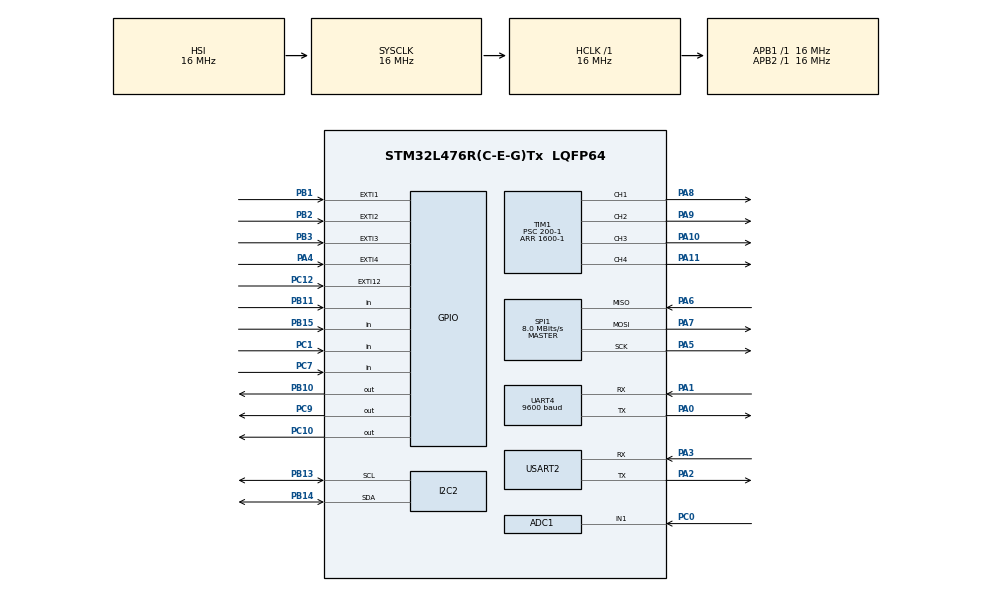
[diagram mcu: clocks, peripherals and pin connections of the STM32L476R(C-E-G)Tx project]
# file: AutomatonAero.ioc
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ADC1.Channel-0\#ChannelRegularConversion=ADC_CHANNEL_1
ADC1.NbrOfConversionFlag=1
ADC1.OffsetNumber-0\#ChannelRegularConversion=ADC_OFFSET_NONE
ADC1.Rank-0\#ChannelRegularConversion=1
ADC1.SamplingTime-0\#ChannelRegularConversion=ADC_SAMPLETIME_2CYCLES_5
ADC1.master=1
FREERTOS.Tasks01=flightTask,32,512,StartflightTask,Default,NULL,Dynamic,NULL,NULL;telemetryTask,24,256,StarttelemetryTask,Default,NULL,Dynamic,NULL,NULL;sensorsTask,16,512,StartsensorsTask,Default,NULL,Dynamic,NULL,NULL
FREERTOS.configTOTAL_HEAP_SIZE=8192
I2C2.Timing=0x00503D58
Mcu.Family=STM32L4
Mcu.Name=STM32L476R(C-E-G)Tx
Mcu.Package=LQFP64
NVIC.PriorityGroup=NVIC_PRIORITYGROUP_4
NVIC.TIM3_IRQn=true\:15\:0\:false\:false\:true\:false\:false\:true\:true
NVIC.TimeBase=TIM3_IRQn
NVIC.TimeBaseIP=TIM3
PA0.Mode=Asynchronous
PA0.Signal=UART4_TX
PA1.GPIO_PuPd=GPIO_PULLUP
PA1.Mode=Asynchronous
PA1.Signal=UART4_RX
PA10.Signal=S_TIM1_CH3
PA11.Signal=S_TIM1_CH4
PA13\ (JTMS-SWDIO).Mode=Serial_Wire
PA13\ (JTMS-SWDIO).Signal=SYS_JTMS-SWDIO
PA14\ (JTCK-SWCLK).Mode=Serial_Wire
PA14\ (JTCK-SWCLK).Signal=SYS_JTCK-SWCLK
PA2.Mode=Asynchronous
PA2.Signal=USART2_TX
PA3.Mode=Asynchronous
PA3.Signal=USART2_RX
PA4.Signal=GPXTI4
PA5.GPIO_PuPd=GPIO_PULLUP
PA5.Mode=Full_Duplex_Master
PA5.Signal=SPI1_SCK
PA6.GPIO_PuPd=GPIO_PULLUP
PA6.Mode=Full_Duplex_Master
PA6.Signal=SPI1_MISO
PA7.GPIO_PuPd=GPIO_PULLUP
PA7.Mode=Full_Duplex_Master
PA7.Signal=SPI1_MOSI
PA8.Signal=S_TIM1_CH1
PA9.Signal=S_TIM1_CH2
PB1.GPIO_ModeDefaultEXTI=GPIO_MODE_IT_RISING_FALLING
PB1.Signal=GPXTI1
PB10.Signal=GPIO_Output
PB11.Signal=GPIO_Input
PB13.GPIO_Mode=GPIO_MODE_AF_OD
PB13.GPIO_Pu=GPIO_NOPULL
PB13.GPIO_Speed=GPIO_SPEED_FREQ_VERY_HIGH
PB13.Mode=I2C
PB13.Signal=I2C2_SCL
PB14.GPIO_Mode=GPIO_MODE_AF_OD
PB14.GPIO_Pu=GPIO_NOPULL
PB14.GPIO_Speed=GPIO_SPEED_FREQ_VERY_HIGH
PB14.Mode=I2C
PB14.Signal=I2C2_SDA
PB15.Signal=GPIO_Input
PB2.GPIO_ModeDefaultEXTI=GPIO_MODE_IT_RISING_FALLING
PB2.Signal=GPXTI2
PB3\ (JTDO-TRACESWO).GPIO_ModeDefaultEXTI=GPIO_MODE_IT_RISING_FALLING
PB3\ (JTDO-TRACESWO).Signal=GPXTI3
PC0.Signal=ADCx_IN1
PC1.Signal=GPIO_Input
PC10.Signal=GPIO_Output
PC12.GPIO_ModeDefaultEXTI=GPIO_MODE_IT_RISING_FALLING
PC12.Signal=GPXTI12
PC7.Signal=GPIO_Input
PC9.Signal=GPIO_Output
PH0-OSC_IN\ (PH0).Mode=HSE-External-Oscillator
PH0-OSC_IN\ (PH0).Signal=RCC_OSC_IN
PH1-OSC_OUT\ (PH1).Mode=HSE-External-Oscillator
PH1-OSC_OUT\ (PH1).Signal=RCC_OSC_OUT
ProjectManager.HeapSize=0x200
ProjectManager.StackSize=0x400
ProjectManager.TargetToolchain=CMake
RCC.ADCFreq_Value=32000000
RCC.AHBFreq_Value=16000000
RCC.APB1Freq_Value=16000000
RCC.APB1TimFreq_Value=16000000
RCC.APB2Freq_Value=16000000
RCC.APB2TimFreq_Value=16000000
RCC.CortexFreq_Value=16000000
RCC.HCLKFreq_Value=16000000
RCC.HSE_VALUE=8000000
RCC.HSI_VALUE=16000000
RCC.LSE_VALUE=32768
RCC.MSI_VALUE=4000000
RCC.PLLSAI1N=16
RCC.SYSCLKFreq_VALUE=16000000
RCC.SYSCLKSource=RCC_SYSCLKSOURCE_HSI
RCC.USBFreq_Value=32000000
RCC.VCOOutputFreq_Value=32000000
SH.ADCx_IN1.0=ADC1_IN1,IN1-Single-Ended
SH.S_TIM1_CH1.0=TIM1_CH1,PWM Generation1 CH1
SH.S_TIM1_CH2.0=TIM1_CH2,PWM Generation2 CH2
SH.S_TIM1_CH3.0=TIM1_CH3,PWM Generation3 CH3
SH.S_TIM1_CH4.0=TIM1_CH4,PWM Generation4 CH4
SPI1.CalculateBaudRate=8.0 MBits/s
SPI1.DataSize=SPI_DATASIZE_8BIT
SPI1.Direction=SPI_DIRECTION_2LINES
SPI1.Mode=SPI_MODE_MASTER
SPI1.VirtualType=VM_MASTER
TIM1.Channel-PWM\ Generation1\ CH1=TIM_CHANNEL_1
TIM1.Channel-PWM\ Generation2\ CH2=TIM_CHANNEL_2
TIM1.Channel-PWM\ Generation3\ CH3=TIM_CHANNEL_3
TIM1.Channel-PWM\ Generation4\ CH4=TIM_CHANNEL_4
TIM1.Period=1600-1
TIM1.Prescaler=200-1
TIM2.Period=1600-1
TIM2.Prescaler=200-1
UART4.BaudRate=9600
USART2.VirtualMode-Asynchronous=VM_ASYNC
VP_FREERTOS_VS_CMSIS_V2.Mode=CMSIS_V2
VP_SYS_VS_tim3.Mode=TIM3
VP_TIM1_VS_ClockSourceINT.Mode=Internal
VP_TIM2_VS_ClockSourceINT.Mode=Internal
board=custom

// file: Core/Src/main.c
/* USER CODE BEGIN Header */
/**
  ******************************************************************************
  * @file           : main.c
  * @brief          : Main program body
  ******************************************************************************
  * @attention
  *
  * Copyright (c) 2026 STMicroelectronics.
  * All rights reserved.
  *
  * This software is licensed under terms that can be found in the LICENSE file
  * in the root directory of this software component.
  * If no LICENSE file comes with this software, it is provided AS-IS.
  *
  ******************************************************************************
  */
/* USER CODE END Header */
#include "main.h"
#include "cmsis_os.h"

/* USER CODE BEGIN Includes */
#include "flight_types.h"
#include "mpu6050.h"
#include "ms5611.h"
#include "gps_nmea.h"
#include "sx1278.h"
#include "kalman.h"
#include "nav_fusion.h"
#include "pid.h"
#include "servo_esc.h"
#include "adc_sensors.h"
#include "telemetry.h"
#include "rc_input.h"
#include "serial_telemetry.h"
#include "flight_config_generated.h"
#include <string.h>
#include <stdio.h>
#include <math.h>
/* USER CODE END Includes */

ADC_HandleTypeDef hadc1;

I2C_HandleTypeDef hi2c2;

SPI_HandleTypeDef hspi1;

TIM_HandleTypeDef htim1;
TIM_HandleTypeDef htim2;

UART_HandleTypeDef huart4;
UART_HandleTypeDef huart2;

/* Definitions for flightTask */
osThreadId_t flightTaskHandle;
const osThreadAttr_t flightTask_attributes = {
  .name = "flightTask",
  .stack_size = 512 * 4,
  .priority = (osPriority_t) osPriorityAboveNormal,
};
/* Definitions for telemetryTask */
osThreadId_t telemetryTaskHandle;
const osThreadAttr_t telemetryTask_attributes = {
  .name = "telemetryTask",
  .stack_size = 256 * 4,
  .priority = (osPriority_t) osPriorityNormal,
};
/* Definitions for sensorsTask */
osThreadId_t sensorsTaskHandle;
const osThreadAttr_t sensorsTask_attributes = {
  .name = "sensorsTask",
  .stack_size = 512 * 4,
  .priority = (osPriority_t) osPriorityBelowNormal,
};
/* USER CODE BEGIN PV */

/* Sensor handles */
MPU6050_Handle_t hmpu;
MS5611_Handle_t hbaro;
GPS_Handle_t hgps;
SX1278_Handle_t hlora;
PowerSensor_Handle_t hpower;
IWDG_HandleTypeDef hiwdg;

/* Control system */
KalmanFilter_t kalman;
NavFusion_t nav_fusion;
FlightPID_t flight_pid;

/* Initial orientation at power-on (for attitude hold baseline) */
static float attitude_zero_roll = 0.0f;
static float attitude_zero_pitch = 0.0f;
static float attitude_zero_yaw = 0.0f;
static volatile uint8_t attitude_zero_requested = 1U;
static bool attitude_zero_valid = false;

/* Actuator handles */
Servo_Handle_t servo_roll;   // TIM1_CH1 - PA8
Servo_Handle_t servo_pitch;  // TIM1_CH2 - PA9
Servo_Handle_t servo_yaw;    // TIM1_CH3 - PA10 front wheel steering
Servo_Handle_t reverse_thrust_output; // TIM1_CH4 - PA11 RC-style command
ESC_Handle_t esc;            // Legacy throttle output unused on this airframe

/* Telemetry */
Telemetry_Handle_t htelemetry;

/* Serial Debug Telemetry */
SerialTelemetry_Handle_t hserial_telem;

/* RC Input */
RC_Handle_t hrc;

/* Flight state */
FlightState_t flight_state;

/* Control parameters */
float throttle_command = 0.0f;  // 0.0 to 1.0
volatile uint8_t system_armed = CONFIG_SYSTEM_ARMED_DEFAULT;

/* Task heartbeats used by the independent hardware watchdog. */
static volatile uint32_t sensors_heartbeat = 0;
static volatile uint32_t telemetry_heartbeat = 0;
static osMutexId_t i2c2MutexHandle;
static volatile float mcu_temperature_c = 0.0f;
static volatile bool mcu_temperature_valid = false;
static volatile bool baro_startup_zero_valid = false;
static volatile bool reverse_thrust_active = false;
static volatile bool reverse_rc_signal_valid = false;

/* USER CODE END PV */

void SystemClock_Config(void);
static void MX_GPIO_Init(void);
static void MX_UART4_Init(void);
static void MX_ADC1_Init(void);
static void MX_SPI1_Init(void);
static void MX_TIM1_Init(void);
static void MX_TIM2_Init(void);
static void MX_I2C2_Init(void);
static void MX_USART2_UART_Init(void);
void StartflightTask(void *argument);
void StarttelemetryTask(void *argument);
void StartsensorsTask(void *argument);

/* USER CODE BEGIN PFP */
static void Flight_InitSensors(void);
static void Flight_InitActuators(void);
static void Flight_InitRadio(void);
static void Flight_InitRCInput(void);
static void Flight_ControlLoop(void);
static void Flight_InitWatchdog(void);
static void Flight_RecoverI2CBus(void);
void Flight_RequestAttitudeZero(void);
/* USER CODE END PFP */

/* USER CODE BEGIN 0 */

void Flight_RequestAttitudeZero(void)
{
  attitude_zero_requested = 1U;
}

static float Flight_WrapAngle(float angle)
{
  while (angle > 3.14159265f) angle -= 6.28318531f;
  while (angle < -3.14159265f) angle += 6.28318531f;
  return angle;
}

/* USER CODE END 0 */

int main(void)
{

  /* MCU Configuration--------------------------------------------------------*/

  /* Reset of all peripherals, Initializes the Flash interface and the Systick. */
  HAL_Init();

  /* Configure the system clock */
  SystemClock_Config();

  /* Initialize all configured peripherals */
  MX_GPIO_Init();
  MX_UART4_Init();
  MX_ADC1_Init();
  MX_SPI1_Init();
  MX_TIM1_Init();
  MX_TIM2_Init();
  MX_I2C2_Init();
  MX_USART2_UART_Init();
  /* USER CODE BEGIN 2 */

  /* Initialize flight state */
  memset(&flight_state, 0, sizeof(FlightState_t));

  /* Initialize Kalman filter and PID controllers */
  Kalman_Init(&kalman);
  Kalman_SetTuning(&kalman, 0.001f, 0.003f, 0.03f);  // Q_angle, Q_bias, R_measure
  NavFusion_Init(&nav_fusion);

  FlightPID_Init(&flight_pid);

  /* Initialize sensors */
  Flight_InitSensors();

  /* Initialize RC receiver input */
  Flight_InitRCInput();

  /* Initialize actuators */
  Flight_InitActuators();

  /* Initialize LoRa radio */
  Flight_InitRadio();

  /* Initialize serial debug telemetry (0.25Hz = print every 4 seconds) */
  SerialTelemetry_Init(&hserial_telem, 0.25f);

  /* Last-resort recovery for a genuinely wedged peripheral/task. */
  sensors_heartbeat = HAL_GetTick();
  telemetry_heartbeat = HAL_GetTick();
  Flight_InitWatchdog();

  /* USER CODE END 2 */

  /* Init scheduler */
  osKernelInitialize();

  /* USER CODE BEGIN RTOS_MUTEX */
  i2c2MutexHandle = osMutexNew(NULL);
  if (i2c2MutexHandle == NULL)
  {
    NVIC_SystemReset();
  }
  /* USER CODE END RTOS_MUTEX */

  /* Create the thread(s) */
  /* creation of flightTask */
  flightTaskHandle = osThreadNew(StartflightTask, NULL, &flightTask_attributes);

  /* creation of telemetryTask */
  telemetryTaskHandle = osThreadNew(StarttelemetryTask, NULL, &telemetryTask_attributes);

  /* creation of sensorsTask */
  sensorsTaskHandle = osThreadNew(StartsensorsTask, NULL, &sensorsTask_attributes);

  /* Start scheduler */
  osKernelStart();

  /* We should never get here as control is now taken by the scheduler */

  /* Infinite loop */
  while (1)
  {

  }
}

void SystemClock_Config(void)
{
  RCC_OscInitTypeDef RCC_OscInitStruct = {0};
  RCC_ClkInitTypeDef RCC_ClkInitStruct = {0};

  /** Configure the main internal regulator output voltage
  */
  if (HAL_PWREx_ControlVoltageScaling(PWR_REGULATOR_VOLTAGE_SCALE1) != HAL_OK)
  {
    Error_Handler();
  }

  /** Initializes the RCC Oscillators according to the specified parameters
  * in the RCC_OscInitTypeDef structure.
  */
  RCC_OscInitStruct.OscillatorType = RCC_OSCILLATORTYPE_HSI|RCC_OSCILLATORTYPE_MSI;
  RCC_OscInitStruct.HSIState = RCC_HSI_ON;
  RCC_OscInitStruct.HSICalibrationValue = RCC_HSICALIBRATION_DEFAULT;
  RCC_OscInitStruct.MSIState = RCC_MSI_ON;
  RCC_OscInitStruct.MSICalibrationValue = 0;
  RCC_OscInitStruct.MSIClockRange = RCC_MSIRANGE_6;
  RCC_OscInitStruct.PLL.PLLState = RCC_PLL_NONE;
  if (HAL_RCC_OscConfig(&RCC_OscInitStruct) != HAL_OK)
  {
    Error_Handler();
  }

  /** Initializes the CPU, AHB and APB buses clocks
  */
  RCC_ClkInitStruct.ClockType = RCC_CLOCKTYPE_HCLK|RCC_CLOCKTYPE_SYSCLK
                              |RCC_CLOCKTYPE_PCLK1|RCC_CLOCKTYPE_PCLK2;
  RCC_ClkInitStruct.SYSCLKSource = RCC_SYSCLKSOURCE_HSI;
  RCC_ClkInitStruct.AHBCLKDivider = RCC_SYSCLK_DIV1;
  RCC_ClkInitStruct.APB1CLKDivider = RCC_HCLK_DIV1;
  RCC_ClkInitStruct.APB2CLKDivider = RCC_HCLK_DIV1;

  if (HAL_RCC_ClockConfig(&RCC_ClkInitStruct, FLASH_LATENCY_0) != HAL_OK)
  {
    Error_Handler();
  }
}

static void MX_ADC1_Init(void)
{

  ADC_MultiModeTypeDef multimode = {0};
  ADC_ChannelConfTypeDef sConfig = {0};

  /** Common config
  */
  hadc1.Instance = ADC1;
  hadc1.Init.ClockPrescaler = ADC_CLOCK_ASYNC_DIV1;
  hadc1.Init.Resolution = ADC_RESOLUTION_12B;
  hadc1.Init.DataAlign = ADC_DATAALIGN_RIGHT;
  hadc1.Init.ScanConvMode = ADC_SCAN_DISABLE;
  hadc1.Init.EOCSelection = ADC_EOC_SINGLE_CONV;
  hadc1.Init.LowPowerAutoWait = DISABLE;
  hadc1.Init.ContinuousConvMode = DISABLE;
  hadc1.Init.NbrOfConversion = 1;
  hadc1.Init.DiscontinuousConvMode = DISABLE;
  hadc1.Init.ExternalTrigConv = ADC_SOFTWARE_START;
  hadc1.Init.ExternalTrigConvEdge = ADC_EXTERNALTRIGCONVEDGE_NONE;
  hadc1.Init.DMAContinuousRequests = DISABLE;
  hadc1.Init.Overrun = ADC_OVR_DATA_PRESERVED;
  hadc1.Init.OversamplingMode = DISABLE;
  if (HAL_ADC_Init(&hadc1) != HAL_OK)
  {
    Error_Handler();
  }

  /** Configure the ADC multi-mode
  */
  multimode.Mode = ADC_MODE_INDEPENDENT;
  if (HAL_ADCEx_MultiModeConfigChannel(&hadc1, &multimode) != HAL_OK)
  {
    Error_Handler();
  }

  /** Configure Regular Channel
  */
  sConfig.Channel = ADC_CHANNEL_1;
  sConfig.Rank = ADC_REGULAR_RANK_1;
  sConfig.SamplingTime = ADC_SAMPLETIME_2CYCLES_5;
  sConfig.SingleDiff = ADC_SINGLE_ENDED;
  sConfig.OffsetNumber = ADC_OFFSET_NONE;
  sConfig.Offset = 0;
  if (HAL_ADC_ConfigChannel(&hadc1, &sConfig) != HAL_OK)
  {
    Error_Handler();
  }

}

static void MX_I2C2_Init(void)
{

  hi2c2.Instance = I2C2;
  hi2c2.Init.Timing = 0x00503D58;
  hi2c2.Init.OwnAddress1 = 0;
  hi2c2.Init.AddressingMode = I2C_ADDRESSINGMODE_7BIT;
  hi2c2.Init.DualAddressMode = I2C_DUALADDRESS_DISABLE;
  hi2c2.Init.OwnAddress2 = 0;
  hi2c2.Init.OwnAddress2Masks = I2C_OA2_NOMASK;
  hi2c2.Init.GeneralCallMode = I2C_GENERALCALL_DISABLE;
  hi2c2.Init.NoStretchMode = I2C_NOSTRETCH_DISABLE;
  if (HAL_I2C_Init(&hi2c2) != HAL_OK)
  {
    Error_Handler();
  }

  /** Configure Analogue filter
  */
  if (HAL_I2CEx_ConfigAnalogFilter(&hi2c2, I2C_ANALOGFILTER_ENABLE) != HAL_OK)
  {
    Error_Handler();
  }

  /** Configure Digital filter
  */
  if (HAL_I2CEx_ConfigDigitalFilter(&hi2c2, 0) != HAL_OK)
  {
    Error_Handler();
  }

}

static void MX_SPI1_Init(void)
{

  /* SPI1 parameter configuration*/
  hspi1.Instance = SPI1;
  hspi1.Init.Mode = SPI_MODE_MASTER;
  hspi1.Init.Direction = SPI_DIRECTION_2LINES;
  hspi1.Init.DataSize = SPI_DATASIZE_8BIT;
  hspi1.Init.CLKPolarity = SPI_POLARITY_LOW;
  hspi1.Init.CLKPhase = SPI_PHASE_1EDGE;
  hspi1.Init.NSS = SPI_NSS_SOFT;
  hspi1.Init.BaudRatePrescaler = SPI_BAUDRATEPRESCALER_2;
  hspi1.Init.FirstBit = SPI_FIRSTBIT_MSB;
  hspi1.Init.TIMode = SPI_TIMODE_DISABLE;
  hspi1.Init.CRCCalculation = SPI_CRCCALCULATION_DISABLE;
  hspi1.Init.CRCPolynomial = 7;
  hspi1.Init.CRCLength = SPI_CRC_LENGTH_DATASIZE;
  hspi1.Init.NSSPMode = SPI_NSS_PULSE_ENABLE;
  if (HAL_SPI_Init(&hspi1) != HAL_OK)
  {
    Error_Handler();
  }

}

static void MX_TIM1_Init(void)
{

  TIM_ClockConfigTypeDef sClockSourceConfig = {0};
  TIM_MasterConfigTypeDef sMasterConfig = {0};
  TIM_OC_InitTypeDef sConfigOC = {0};
  TIM_BreakDeadTimeConfigTypeDef sBreakDeadTimeConfig = {0};

  htim1.Instance = TIM1;
  htim1.Init.Prescaler = 200-1;
  htim1.Init.CounterMode = TIM_COUNTERMODE_UP;
  htim1.Init.Period = 1600-1;
  htim1.Init.ClockDivision = TIM_CLOCKDIVISION_DIV1;
  htim1.Init.RepetitionCounter = 0;
  htim1.Init.AutoReloadPreload = TIM_AUTORELOAD_PRELOAD_DISABLE;
  if (HAL_TIM_Base_Init(&htim1) != HAL_OK)
  {
    Error_Handler();
  }
  sClockSourceConfig.ClockSource = TIM_CLOCKSOURCE_INTERNAL;
  if (HAL_TIM_ConfigClockSource(&htim1, &sClockSourceConfig) != HAL_OK)
  {
    Error_Handler();
  }
  if (HAL_TIM_PWM_Init(&htim1) != HAL_OK)
  {
    Error_Handler();
  }
  sMasterConfig.MasterOutputTrigger = TIM_TRGO_RESET;
  sMasterConfig.MasterOutputTrigger2 = TIM_TRGO2_RESET;
  sMasterConfig.MasterSlaveMode = TIM_MASTERSLAVEMODE_DISABLE;
  if (HAL_TIMEx_MasterConfigSynchronization(&htim1, &sMasterConfig) != HAL_OK)
  {
    Error_Handler();
  }
  sConfigOC.OCMode = TIM_OCMODE_PWM1;
  sConfigOC.Pulse = 0;
  sConfigOC.OCPolarity = TIM_OCPOLARITY_HIGH;
  sConfigOC.OCNPolarity = TIM_OCNPOLARITY_HIGH;
  sConfigOC.OCFastMode = TIM_OCFAST_DISABLE;
  sConfigOC.OCIdleState = TIM_OCIDLESTATE_RESET;
  sConfigOC.OCNIdleState = TIM_OCNIDLESTATE_RESET;
  if (HAL_TIM_PWM_ConfigChannel(&htim1, &sConfigOC, TIM_CHANNEL_1) != HAL_OK)
  {
    Error_Handler();
  }
  if (HAL_TIM_PWM_ConfigChannel(&htim1, &sConfigOC, TIM_CHANNEL_2) != HAL_OK)
  {
    Error_Handler();
  }
  if (HAL_TIM_PWM_ConfigChannel(&htim1, &sConfigOC, TIM_CHANNEL_3) != HAL_OK)
  {
    Error_Handler();
  }
  if (HAL_TIM_PWM_ConfigChannel(&htim1, &sConfigOC, TIM_CHANNEL_4) != HAL_OK)
  {
    Error_Handler();
  }
  sBreakDeadTimeConfig.OffStateRunMode = TIM_OSSR_DISABLE;
  sBreakDeadTimeConfig.OffStateIDLEMode = TIM_OSSI_DISABLE;
  sBreakDeadTimeConfig.LockLevel = TIM_LOCKLEVEL_OFF;
  sBreakDeadTimeConfig.DeadTime = 0;
  sBreakDeadTimeConfig.BreakState = TIM_BREAK_DISABLE;
  sBreakDeadTimeConfig.BreakPolarity = TIM_BREAKPOLARITY_HIGH;
  sBreakDeadTimeConfig.BreakFilter = 0;
  sBreakDeadTimeConfig.Break2State = TIM_BREAK2_DISABLE;
  sBreakDeadTimeConfig.Break2Polarity = TIM_BREAK2POLARITY_HIGH;
  sBreakDeadTimeConfig.Break2Filter = 0;
  sBreakDeadTimeConfig.AutomaticOutput = TIM_AUTOMATICOUTPUT_DISABLE;
  if (HAL_TIMEx_ConfigBreakDeadTime(&htim1, &sBreakDeadTimeConfig) != HAL_OK)
  {
    Error_Handler();
  }
  HAL_TIM_MspPostInit(&htim1);

}

static void MX_TIM2_Init(void)
{

  TIM_ClockConfigTypeDef sClockSourceConfig = {0};
  TIM_MasterConfigTypeDef sMasterConfig = {0};

  htim2.Instance = TIM2;
  htim2.Init.Prescaler = 200-1;
  htim2.Init.CounterMode = TIM_COUNTERMODE_UP;
  htim2.Init.Period = 1600-1;
  htim2.Init.ClockDivision = TIM_CLOCKDIVISION_DIV1;
  htim2.Init.AutoReloadPreload = TIM_AUTORELOAD_PRELOAD_DISABLE;
  if (HAL_TIM_Base_Init(&htim2) != HAL_OK)
  {
    Error_Handler();
  }
  sClockSourceConfig.ClockSource = TIM_CLOCKSOURCE_INTERNAL;
  if (HAL_TIM_ConfigClockSource(&htim2, &sClockSourceConfig) != HAL_OK)
  {
    Error_Handler();
  }
  sMasterConfig.MasterOutputTrigger = TIM_TRGO_RESET;
  sMasterConfig.MasterSlaveMode = TIM_MASTERSLAVEMODE_DISABLE;
  if (HAL_TIMEx_MasterConfigSynchronization(&htim2, &sMasterConfig) != HAL_OK)
  {
    Error_Handler();
  }

}

static void MX_UART4_Init(void)
{

  huart4.Instance = UART4;
  huart4.Init.BaudRate = 9600;
  huart4.Init.WordLength = UART_WORDLENGTH_8B;
  huart4.Init.StopBits = UART_STOPBITS_1;
  huart4.Init.Parity = UART_PARITY_NONE;
  huart4.Init.Mode = UART_MODE_TX_RX;
  huart4.Init.HwFlowCtl = UART_HWCONTROL_NONE;
  huart4.Init.OverSampling = UART_OVERSAMPLING_16;
  huart4.Init.OneBitSampling = UART_ONE_BIT_SAMPLE_DISABLE;
  huart4.AdvancedInit.AdvFeatureInit = UART_ADVFEATURE_NO_INIT;
  if (HAL_UART_Init(&huart4) != HAL_OK)
  {
    Error_Handler();
  }

}

static void MX_USART2_UART_Init(void)
{

  huart2.Instance = USART2;
  huart2.Init.BaudRate = 115200;
  huart2.Init.WordLength = UART_WORDLENGTH_8B;
  huart2.Init.StopBits = UART_STOPBITS_1;
  huart2.Init.Parity = UART_PARITY_NONE;
  huart2.Init.Mode = UART_MODE_TX_RX;
  huart2.Init.HwFlowCtl = UART_HWCONTROL_NONE;
  huart2.Init.OverSampling = UART_OVERSAMPLING_16;
  huart2.Init.OneBitSampling = UART_ONE_BIT_SAMPLE_DISABLE;
  huart2.AdvancedInit.AdvFeatureInit = UART_ADVFEATURE_NO_INIT;
  if (HAL_UART_Init(&huart2) != HAL_OK)
  {
    Error_Handler();
  }

}

static void MX_GPIO_Init(void)
{
  GPIO_InitTypeDef GPIO_InitStruct = {0};

  /* GPIO Ports Clock Enable */
  __HAL_RCC_GPIOH_CLK_ENABLE();
  __HAL_RCC_GPIOC_CLK_ENABLE();
  __HAL_RCC_GPIOA_CLK_ENABLE();
  __HAL_RCC_GPIOB_CLK_ENABLE();

  /*Configure GPIO pin Output Level */
  HAL_GPIO_WritePin(GPIOB, GPIO_PIN_10, GPIO_PIN_RESET);

  /*Configure GPIO pin Output Level */
  HAL_GPIO_WritePin(GPIOC, GPIO_PIN_9|GPIO_PIN_10, GPIO_PIN_RESET);

  /*Configure GPIO pins : PC1 PC7 */
  GPIO_InitStruct.Pin = GPIO_PIN_1|GPIO_PIN_7;
  GPIO_InitStruct.Mode = GPIO_MODE_INPUT;
  GPIO_InitStruct.Pull = GPIO_NOPULL;
  HAL_GPIO_Init(GPIOC, &GPIO_InitStruct);

  /*Configure GPIO pin : PA4 */
  GPIO_InitStruct.Pin = GPIO_PIN_4;
  GPIO_InitStruct.Mode = GPIO_MODE_IT_RISING;
  GPIO_InitStruct.Pull = GPIO_NOPULL;
  HAL_GPIO_Init(GPIOA, &GPIO_InitStruct);

  /*Configure GPIO pins : PB1 PB2 PB3 */
  GPIO_InitStruct.Pin = GPIO_PIN_1|GPIO_PIN_2|GPIO_PIN_3;
  GPIO_InitStruct.Mode = GPIO_MODE_IT_RISING_FALLING;
  GPIO_InitStruct.Pull = GPIO_NOPULL;
  HAL_GPIO_Init(GPIOB, &GPIO_InitStruct);

  /*Configure GPIO pin : PB10 */
  GPIO_InitStruct.Pin = GPIO_PIN_10;
  GPIO_InitStruct.Mode = GPIO_MODE_OUTPUT_PP;
  GPIO_InitStruct.Pull = GPIO_NOPULL;
  GPIO_InitStruct.Speed = GPIO_SPEED_FREQ_LOW;
  HAL_GPIO_Init(GPIOB, &GPIO_InitStruct);

  /*Configure GPIO pins : PB11 PB15 */
  GPIO_InitStruct.Pin = GPIO_PIN_11|GPIO_PIN_15;
  GPIO_InitStruct.Mode = GPIO_MODE_INPUT;
  GPIO_InitStruct.Pull = GPIO_NOPULL;
  HAL_GPIO_Init(GPIOB, &GPIO_InitStruct);

  /*Configure GPIO pins : PC9 PC10 */
  GPIO_InitStruct.Pin = GPIO_PIN_9|GPIO_PIN_10;
  GPIO_InitStruct.Mode = GPIO_MODE_OUTPUT_PP;
  GPIO_InitStruct.Pull = GPIO_NOPULL;
  GPIO_InitStruct.Speed = GPIO_SPEED_FREQ_LOW;
  HAL_GPIO_Init(GPIOC, &GPIO_InitStruct);

  /*Configure GPIO pin : PC12 */
  GPIO_InitStruct.Pin = GPIO_PIN_12;
  GPIO_InitStruct.Mode = GPIO_MODE_IT_RISING_FALLING;
  GPIO_InitStruct.Pull = GPIO_NOPULL;
  HAL_GPIO_Init(GPIOC, &GPIO_InitStruct);

}

/* USER CODE BEGIN 4 */

/**
 * @brief Initialize all sensors
 */
static void Flight_InitSensors(void)
{
    /* Configure PA4 as input for GPS PPS */
    GPIO_InitTypeDef GPIO_InitStruct = {0};
    __HAL_RCC_GPIOA_CLK_ENABLE();

    GPIO_InitStruct.Pin = GPS_PPS_PIN;
    GPIO_InitStruct.Mode = GPIO_MODE_IT_RISING;  // Interrupt on rising edge
    GPIO_InitStruct.Pull = GPIO_PULLDOWN;
    HAL_GPIO_Init(GPS_PPS_PORT, &GPIO_InitStruct);

    /* Enable EXTI interrupt for PPS */
    HAL_NVIC_SetPriority(EXTI4_IRQn, 5, 0);
    HAL_NVIC_EnableIRQ(EXTI4_IRQn);

    /* DEBUG: I2C peripheral state check */
    printf("\r\n--- I2C2 Debug ---\r\n");
    printf("I2C2 State: %d (1=READY)\r\n", hi2c2.State);
    printf("I2C2 Error: 0x%08lX\r\n", hi2c2.ErrorCode);

    /* Check GPIO states - should be HIGH when idle */
    uint8_t scl_state = HAL_GPIO_ReadPin(GPIOB, GPIO_PIN_13);
    uint8_t sda_state = HAL_GPIO_ReadPin(GPIOB, GPIO_PIN_14);
    printf("PB13(SCL)=%d PB14(SDA)=%d (both should be 1)\r\n", scl_state, sda_state);

    /* I2C bus scan */
    printf("--- I2C2 Bus Scan ---\r\n");
    for (uint8_t addr = 0x08; addr < 0x78; addr++) {
        HAL_StatusTypeDef res = HAL_I2C_IsDeviceReady(&hi2c2, addr << 1, 1, 10);
        if (res == HAL_OK) {
            printf("Device found at 0x%02X\r\n", addr);
        }
    }
    printf("I2C2 Error after scan: 0x%08lX\r\n", hi2c2.ErrorCode);
    printf("--- Scan Complete ---\r\n");

    /* Initialize MPU-6050 IMU on I2C2 */
    HAL_StatusTypeDef imu_status = MPU6050_Init(&hmpu, &hi2c2);
    printf("MPU6050 Init: %s (addr=0x%02X)\r\n",
           imu_status == HAL_OK ? "OK" : "FAILED", hmpu.address >> 1);
    if (imu_status == HAL_OK) {
        /* Calibrate gyroscope (keep device still!) */
        MPU6050_Calibrate(&hmpu, 200);
    }

    /* Initialize MS5611 Barometer on I2C2 */
    HAL_StatusTypeDef baro_status = MS5611_Init(&hbaro, &hi2c2);
    printf("MS5611 Init: %s (addr=0x%02X)\r\n",
           baro_status == HAL_OK ? "OK" : "FAILED", hbaro.address >> 1);
    if (baro_status == HAL_OK) {
        printf("PROM: C1=%u C2=%u C3=%u C4=%u C5=%u C6=%u\r\n",
               hbaro.prom[1], hbaro.prom[2], hbaro.prom[3],
               hbaro.prom[4], hbaro.prom[5], hbaro.prom[6]);
        /* Test read */
        Baro_Data_t test_baro;
        if (MS5611_ReadBlocking(&hbaro, &test_baro) == HAL_OK) {
            printf("D1=%lu D2=%lu\r\n", hbaro.D1, hbaro.D2);
            printf("Baro: %.1f Pa, %.2f C\r\n", test_baro.pressure, test_baro.temperature);
        }
    }

    /* Initialize GPS on UART4 with PPS on PA4 */
    HAL_StatusTypeDef gps_status = GPS_InitWithPPS(&hgps, &huart4, GPS_PPS_PORT, GPS_PPS_PIN);
    printf("GPS init: %s\r\n", gps_status == HAL_OK ? "OK" : "FAILED");
    printf("UART4 State: %d, Error: 0x%08lX\r\n", huart4.gState, huart4.ErrorCode);

    /* DEBUG: GPS test - wait for data and show sentences */
    printf("Waiting for GPS sentences...\r\n");
    uint32_t gps_start = HAL_GetTick();
    while (HAL_GetTick() - gps_start < 5000) {
        uint16_t bytes = (hgps.rx_head - hgps.rx_tail + GPS_RX_BUFFER_SIZE) % GPS_RX_BUFFER_SIZE;
        if (bytes >= 50) {  // Wait for ~1 sentence
            printf("GPS bytes: %d\r\n", bytes);
            printf("Data: ");
            for (int i = 0; i < 80 && i < bytes; i++) {
                char c = hgps.rx_buffer[(hgps.rx_tail + i) % GPS_RX_BUFFER_SIZE];
                if (c >= 32 && c <= 126) printf("%c", c);
                else if (c == '\r' || c == '\n') printf("|");
                else printf(".");
            }
            printf("\r\n");
            printf("Fix: %s, Sats: %d\r\n",
                   hgps.data.fix_valid ? "YES" : "NO", hgps.data.satellites);
            break;
        }
        HAL_Delay(50);
    }
    if ((hgps.rx_head - hgps.rx_tail + GPS_RX_BUFFER_SIZE) % GPS_RX_BUFFER_SIZE < 50) {
        printf("GPS: Insufficient data received\r\n");
    }

    /* Initialize power sensor on ADC1 */
    PowerSensor_Init(&hpower, &hadc1);
    /* Aircraft must be unpowered/no-current during this brief startup sample. */
    PowerSensor_CalibrateZeroCurrent(&hpower);
}

/**
 * @brief Initialize servos and ESC
 */
static void Flight_InitActuators(void)
{
    /* Initialize servos on TIM1 */
    Servo_Init(&servo_roll, &htim1, TIM_CHANNEL_1);   // PA8
    Servo_Init(&servo_pitch, &htim1, TIM_CHANNEL_2);  // PA9
    Servo_Init(&servo_yaw, &htim1, TIM_CHANNEL_3);    // PA10 front wheel
    Servo_Init(&reverse_thrust_output, &htim1, TIM_CHANNEL_4); // PA11
    Servo_SetTravelDegrees(&servo_roll, CONFIG_ROLL_SERVO_TRAVEL_DEGREES);
    Servo_SetTravelDegrees(&servo_pitch, CONFIG_PITCH_SERVO_TRAVEL_DEGREES);
    Servo_SetTravelDegrees(&servo_yaw, CONFIG_FRONT_WHEEL_TRAVEL_DEGREES);

    /* Center the flight-control servos and apply front wheel trim. */
    Servo_SetAngle(&servo_roll, 0.0f);
    Servo_SetAngle(&servo_pitch, 0.0f);
    Servo_SetAngle(&servo_yaw, CONFIG_FRONT_WHEEL_NOMINAL_DEGREES);
    /* Reverse thrust is fail-safe inactive until every activation condition
       has been observed by the control loop. */
    Servo_SetPulse(&reverse_thrust_output,
                   CONFIG_REVERSE_INACTIVE_PULSE_US);
}

/**
 * @brief Initialize LoRa radio
 */
static void Flight_InitRadio(void)
{
    /* Configure GPIO for LoRa control pins */
    GPIO_InitTypeDef GPIO_InitStruct = {0};

    __HAL_RCC_GPIOB_CLK_ENABLE();
    __HAL_RCC_GPIOC_CLK_ENABLE();

    /* NSS pin (PC7) - Output */
    GPIO_InitStruct.Pin = LORA_NSS_PIN;
    GPIO_InitStruct.Mode = GPIO_MODE_OUTPUT_PP;
    GPIO_InitStruct.Pull = GPIO_NOPULL;
    GPIO_InitStruct.Speed = GPIO_SPEED_FREQ_HIGH;
    HAL_GPIO_Init(LORA_NSS_PORT, &GPIO_InitStruct);
    HAL_GPIO_WritePin(LORA_NSS_PORT, LORA_NSS_PIN, GPIO_PIN_SET);

    /* RST pin (PB10) - Output */
    GPIO_InitStruct.Pin = LORA_RST_PIN;
    HAL_GPIO_Init(LORA_RST_PORT, &GPIO_InitStruct);
    HAL_GPIO_WritePin(LORA_RST_PORT, LORA_RST_PIN, GPIO_PIN_SET);

    /* DIO0 is driven by the SX1278 (RxDone/TxDone), never by the STM32. */
    GPIO_InitStruct.Pin = LORA_DIO0_PIN;
    GPIO_InitStruct.Mode = GPIO_MODE_INPUT;
    GPIO_InitStruct.Pull = GPIO_NOPULL;
    HAL_GPIO_Init(LORA_DIO0_PORT, &GPIO_InitStruct);

    /* Initialize SX1278 */
    HAL_StatusTypeDef lora_status = SX1278_Init(&hlora, &hspi1,
                    LORA_NSS_PORT, LORA_NSS_PIN,
                    LORA_RST_PORT, LORA_RST_PIN,
                    LORA_DIO0_PORT, LORA_DIO0_PIN);
    printf("LoRa SX1278 Init: %s\r\n", lora_status == HAL_OK ? "OK" : "FAILED");

    if (lora_status == HAL_OK) {
        /* Read chip version to verify communication */
        uint8_t version = SX1278_ReadRegister(&hlora, 0x42);  // RegVersion
        printf("LoRa chip version: 0x%02X (expected 0x12)\r\n", version);

        /* Configure LoRa parameters */
        SX1278_Config_t lora_config = {
            .frequency = 433000000,           // 433 MHz
            .bandwidth = SX1278_BW_125_KHZ,   // 125 kHz bandwidth
            .spreading_factor = SX1278_SF_7,  // SF7 for faster data rate
            .coding_rate = SX1278_CR_4_5,     // 4/5 coding rate
            .tx_power = 17,                   // 17 dBm
            .preamble_length = 8,
            .sync_word = 0x12                 // Private network
        };

        SX1278_Configure(&hlora, &lora_config);
        printf("LoRa configured: 433MHz, SF7, BW125kHz\r\n");
    }

    /* Initialize telemetry */
    Telemetry_Init(&htelemetry, &hlora);
    uint8_t fifo_byte0 = 0U;
    uint8_t fifo_byte1 = 0U;
    bool fifo_ok = SX1278_FIFO_SelfTest(&hlora, &fifo_byte0, &fifo_byte1);
    printf("LoRa FIFO self-test: %s (read %02X %02X, expected A5 5A)\r\n",
           fifo_ok ? "PASS" : "FAIL", fifo_byte0, fifo_byte1);
    /* Before the first command these two existing diagnostic telemetry bytes
       report the loopback result: A5/5A means the complete test passed. */
    htelemetry.config_rx_count = fifo_ok ? 0xA5U : fifo_byte0;
    htelemetry.last_config_status = fifo_ok ? 0x5AU : fifo_byte1;
    Telemetry_SetRate(&htelemetry, 10);  // 10 Hz telemetry
}

/**
 * @brief Initialize RC receiver input
 */
static void Flight_InitRCInput(void)
{
    RC_Init(&hrc);
}

/**
 * @brief Start an approximately four-second independent watchdog.
 * It is refreshed only while both connection-owning tasks are alive.
 */
static void Flight_InitWatchdog(void)
{
    hiwdg.Instance = IWDG;
    hiwdg.Init.Prescaler = IWDG_PRESCALER_64;
    hiwdg.Init.Reload = 2000;
    hiwdg.Init.Window = IWDG_WINDOW_DISABLE;
    if (HAL_IWDG_Init(&hiwdg) != HAL_OK) {
        NVIC_SystemReset();
    }
}

/**
 * @brief Reset the I2C peripheral after repeated whole-bus failures.
 * Sensor drivers retain their addresses/calibration and resume on the next poll.
 */
static void Flight_RecoverI2CBus(void)
{
    HAL_I2C_DeInit(&hi2c2);
    HAL_Delay(2);
    MX_I2C2_Init();
}

/**
 * @brief Main flight control loop - called from RTOS task
 */
static void Flight_ControlLoop(void)
{
    static uint32_t last_loop_time = 0;
    static uint8_t imu_failures = 0;

    uint32_t now = HAL_GetTick();
    float dt = (now - last_loop_time) / 1000.0f;

    if (dt < 0.001f) dt = 0.01f;  // Prevent division issues
    last_loop_time = now;

    /* ========== READ RC INPUT ========== */
    RC_Update(&hrc);
    RC_Input_t rc_input;
    RC_GetInput(&hrc, &rc_input);

    /* ========== IMU + ATTITUDE (same 100 Hz task as PID/servos) ========== */
    HAL_StatusTypeDef imu_status = HAL_BUSY;
    if (osMutexAcquire(i2c2MutexHandle, 2U) == osOK) {
        imu_status = MPU6050_ReadAll(&hmpu, &flight_state.imu);
        if (imu_status != HAL_OK) {
            if (++imu_failures >= 5U) {
                Flight_RecoverI2CBus();
                imu_failures = 0;
            }
        } else {
            imu_failures = 0;
        }
        osMutexRelease(i2c2MutexHandle);
    }

    if (imu_status == HAL_OK) {
        flight_state.last_imu_update = now;
        Kalman_Update(&kalman, &flight_state.imu.accel,
                      &flight_state.imu.gyro, dt);
        Orientation_t raw_orientation;
        Kalman_GetOrientation(&kalman, &raw_orientation);
        if ((attitude_zero_requested != 0U || !attitude_zero_valid) &&
            kalman.attitude_initialized && now > 2000U) {
            attitude_zero_roll = raw_orientation.roll;
            attitude_zero_pitch = raw_orientation.pitch;
            attitude_zero_yaw = raw_orientation.yaw;
            attitude_zero_valid = true;
            attitude_zero_requested = 0U;
        }
        flight_state.orientation.roll = Flight_WrapAngle(raw_orientation.roll - attitude_zero_roll);
        flight_state.orientation.pitch = Flight_WrapAngle(raw_orientation.pitch - attitude_zero_pitch);
        flight_state.orientation.yaw = Flight_WrapAngle(raw_orientation.yaw - attitude_zero_yaw);
        /* Navigation needs the gravity-referenced attitude.  The zeroed
           attitude is a pilot/control reference; using it here turns the
           aircraft's resting tilt into false horizontal acceleration. */
        NavFusion_Predict(&nav_fusion, &flight_state.imu.accel,
                          &raw_orientation, dt);
    }

    NavFusion_CorrectGPS(&nav_fusion, &flight_state.gps, hgps.last_valid_fix);
    if (baro_startup_zero_valid) {
        NavFusion_CorrectBarometer(&nav_fusion, &flight_state.baro,
                                   flight_state.last_baro_update);
    }
    NavFusion_GetData(&nav_fusion, &flight_state.navigation);

    /* ========== UPDATE PID SETPOINTS FROM RC ========== */
    /* Target = calibrated zero attitude + configured RC stick offset. */
    const float max_attitude_rad = CONFIG_MAX_RC_ATTITUDE_DEGREES *
                                   3.14159265f / 180.0f;
    float rc_roll_offset = RC_StickToAngle(rc_input.roll, max_attitude_rad);
    float rc_pitch_offset = RC_StickToAngle(rc_input.pitch, max_attitude_rad);

    float target_roll = rc_roll_offset;
    float target_pitch = rc_pitch_offset;

    /* Set PID targets (yaw setpoint not used - direct passthrough) */
    FlightPID_SetSetpoint(&flight_pid, target_roll, target_pitch, 0.0f);

    /* ========== PID CONTROL (100Hz) ========== */
    FlightPID_Update(&flight_pid, &flight_state.orientation, dt);

    /* Get PID outputs for roll and pitch */
    float roll_out, pitch_out, yaw_pid_out;
    FlightPID_GetOutputs(&flight_pid, &roll_out, &pitch_out, &yaw_pid_out);
    float front_wheel_angle = CONFIG_FRONT_WHEEL_NOMINAL_DEGREES -
                  rc_input.yaw * CONFIG_FRONT_WHEEL_TRAVEL_DEGREES;

    /* PA11 emulates an RC channel at 100% only for the deliberate configured
       aileron-left/pitch-down gesture. The completed startup barometer reference,
       a fresh altitude sample, and a valid receiver are all required so a
       missing sensor/signal always returns the output to its inactive pulse. */
    /* Only the two gesture channels are required. A missing throttle or yaw
       channel must not silently become part of the reverse-thrust gesture. */
    reverse_rc_signal_valid =
        RC_IsChannelValid(&hrc, RC_CH_ROLL) &&
        RC_IsChannelValid(&hrc, RC_CH_PITCH);
    reverse_thrust_active =
        system_armed &&
        reverse_rc_signal_valid &&
        baro_startup_zero_valid &&
        flight_state.navigation.height_valid &&
        (now - flight_state.last_baro_update <=
         CONFIG_REVERSE_MAX_BARO_AGE_MS) &&
        (rc_input.pitch <= -CONFIG_REVERSE_STICK_THRESHOLD) &&
        (rc_input.roll >= CONFIG_REVERSE_STICK_THRESHOLD) &&
        (fabsf(flight_state.navigation.altitude) <=
         CONFIG_REVERSE_ALTITUDE_TOLERANCE_M);

    Servo_SetPulse(&reverse_thrust_output,
                   reverse_thrust_active
                       ? CONFIG_REVERSE_ACTIVE_PULSE_US
                       : CONFIG_REVERSE_INACTIVE_PULSE_US);

    /* This airframe has no flight-computer throttle output. */
    throttle_command = 0.0f;

    /* ========== ACTUATOR OUTPUT ========== */
    if (system_armed) {
        /* Apply roll/pitch PID and manual front-wheel steering. */
        Servo_SetNormalized(&servo_roll, roll_out);
        Servo_SetNormalized(&servo_pitch, pitch_out);
        Servo_SetAngle(&servo_yaw, front_wheel_angle);

    } else {
        /* Disarmed - center flight surfaces, hold front-wheel trim. */
        Servo_SetNormalized(&servo_roll, 0.0f);
        Servo_SetNormalized(&servo_pitch, 0.0f);
        Servo_SetAngle(&servo_yaw, CONFIG_FRONT_WHEEL_NOMINAL_DEGREES);
    }

    flight_state.loop_count++;
}

/* GPS UART Receive Callback */
void HAL_UART_RxCpltCallback(UART_HandleTypeDef *huart)
{
    if (huart->Instance == UART4) {
        GPS_IRQHandler(&hgps);
        flight_state.last_gps_update = HAL_GetTick();
    }
}

/* UART Error Callback - restart GPS reception on error */
void HAL_UART_ErrorCallback(UART_HandleTypeDef *huart)
{
    if (huart->Instance == UART4) {
        /* Clear error flags and restart reception */
        __HAL_UART_CLEAR_PEFLAG(huart);
        __HAL_UART_CLEAR_FEFLAG(huart);
        __HAL_UART_CLEAR_NEFLAG(huart);
        __HAL_UART_CLEAR_OREFLAG(huart);
        HAL_UART_Receive_IT(huart, &hgps.rx_byte, 1);
    }
}

/* GPS PPS EXTI Callback */
void HAL_GPIO_EXTI_Callback(uint16_t GPIO_Pin)
{
    if (GPIO_Pin == GPS_PPS_PIN) {
        GPS_PPS_IRQHandler(&hgps);
    }

    /* PWM RC receiver input pins: PB1, PB2, PB3, and PC12. */
    if (GPIO_Pin == GPIO_PIN_1 || GPIO_Pin == GPIO_PIN_2 ||
        GPIO_Pin == GPIO_PIN_3 || GPIO_Pin == GPIO_PIN_12) {
        RC_EXTI_Handler(&hrc, GPIO_Pin);
    }
}

/* USER CODE END 4 */

void StartflightTask(void *argument)
{
  /* USER CODE BEGIN 5 */

  /* Give sensors time to stabilize */
  osDelay(1000);
  HAL_IWDG_Refresh(&hiwdg);

  /* Set initial setpoint (level flight) */
  FlightPID_SetSetpoint(&flight_pid, 0.0f, 0.0f, 0.0f);

  /* Main flight control loop */
  uint32_t last_tick = osKernelGetTickCount();
  const uint32_t loop_period_ms = 1000 / CONTROL_LOOP_HZ;  // 10ms for 100Hz

  for(;;)
  {
    /* Run control loop */
    Flight_ControlLoop();

    /* GPS data is updated via interrupt - copy to flight state */
    GPS_GetData(&hgps, &flight_state.gps);

    /* Do not hide a dead task by feeding the watchdog from only this task. */
    uint32_t now = HAL_GetTick();
    if ((now - sensors_heartbeat) < 1500U &&
        (now - telemetry_heartbeat) < 1500U) {
      HAL_IWDG_Refresh(&hiwdg);
    }

    /* Wait for next period */
    last_tick += loop_period_ms;
    osDelayUntil(last_tick);
  }
  /* USER CODE END 5 */
}

void StarttelemetryTask(void *argument)
{
  /* USER CODE BEGIN StarttelemetryTask */
  /* Telemetry pipeline: send latest flight state over LoRa */
  for(;;)
  {
    Telemetry_Update(&htelemetry);
    Telemetry_PollConfig(&htelemetry);

    /* Send telemetry if ready */
    if (Telemetry_ReadyToSend(&htelemetry)) {
      float roll_out, pitch_out, yaw_out;
      FlightPID_GetOutputs(&flight_pid, &roll_out, &pitch_out, &yaw_out);
      uint8_t telem_roll = (uint8_t)((roll_out + 1.0f) * 127.5f);
      uint8_t telem_pitch = (uint8_t)((pitch_out + 1.0f) * 127.5f);
      uint8_t telem_yaw = (uint8_t)((yaw_out + 1.0f) * 127.5f);
      uint8_t telem_throttle = (uint8_t)(throttle_command * 255.0f);
      Telemetry_BuildPacket(&htelemetry, &flight_state,
                            telem_roll, telem_pitch, telem_yaw, telem_throttle,
                            reverse_thrust_active);
      Telemetry_Send(&htelemetry);
    }
    /* Debug UART is intentionally kept out of the time-critical flight task. */
    #if SERIAL_TELEMETRY_ENABLED
    if (SerialTelemetry_ReadyToPrint(&hserial_telem)) {
      float roll_out, pitch_out, yaw_out;
      FlightPID_GetOutputs(&flight_pid, &roll_out, &pitch_out, &yaw_out);
      SerialTelemetry_Print(&hserial_telem, &flight_state,
                            &hrc.data,
                            roll_out, pitch_out, hrc.data.yaw, 0.0f,
                            mcu_temperature_c, mcu_temperature_valid,
                            reverse_rc_signal_valid,
                            baro_startup_zero_valid,
                            system_armed != 0U,
                            reverse_thrust_active);
    }
    #endif
    telemetry_heartbeat = HAL_GetTick();
    osDelay(10); // 100Hz loop
  }
  /* Infinite loop */
  for(;;)
  {
    osDelay(1);
  }
  /* USER CODE END StarttelemetryTask */
}

void StartsensorsTask(void *argument)
{
  /* USER CODE BEGIN StartsensorsTask */
  /* Non-blocking barometer pipeline plus slow auxiliary sensors. */
  typedef enum {
    BARO_START_PRESSURE,
    BARO_WAIT_PRESSURE,
    BARO_WAIT_TEMPERATURE
  } BaroTaskState_t;
  BaroTaskState_t baro_state = BARO_START_PRESSURE;
  uint32_t baro_ready_at = 0;
  float baro_startup_altitude_sum = 0.0f;
  float baro_startup_altitude = 0.0f;
  uint8_t baro_startup_samples = 0U;
  baro_startup_zero_valid = false;
  uint32_t last_gps_rearm = HAL_GetTick();
  uint32_t last_power_read = 0;
  uint32_t last_mcu_temperature_read = 0;
  for(;;)
  {
    uint32_t now = HAL_GetTick();

    /* Each state performs at most one short I2C operation. Conversion time
       passes while this task sleeps, rather than blocking the control loop. */
    if (baro_state == BARO_START_PRESSURE) {
      HAL_StatusTypeDef status = HAL_BUSY;
      if (osMutexAcquire(i2c2MutexHandle, 1U) == osOK) {
        status = MS5611_StartConvPressure(&hbaro);
        osMutexRelease(i2c2MutexHandle);
      }
      if (status == HAL_OK) {
        baro_ready_at = now + 10U;
        baro_state = BARO_WAIT_PRESSURE;
      }
    } else if (baro_state == BARO_WAIT_PRESSURE &&
               (int32_t)(now - baro_ready_at) >= 0) {
      HAL_StatusTypeDef status = HAL_BUSY;
      if (osMutexAcquire(i2c2MutexHandle, 1U) == osOK) {
        status = MS5611_ReadADC(&hbaro, &hbaro.D1);
        if (status == HAL_OK) {
          status = MS5611_StartConvTemperature(&hbaro);
        }
        osMutexRelease(i2c2MutexHandle);
      }
      if (status == HAL_OK) {
        baro_ready_at = now + 10U;
        baro_state = BARO_WAIT_TEMPERATURE;
      } else if (status != HAL_BUSY) {
        baro_state = BARO_START_PRESSURE;
      }
    } else if (baro_state == BARO_WAIT_TEMPERATURE &&
               (int32_t)(now - baro_ready_at) >= 0) {
      HAL_StatusTypeDef status = HAL_BUSY;
      if (osMutexAcquire(i2c2MutexHandle, 1U) == osOK) {
        status = MS5611_ReadADC(&hbaro, &hbaro.D2);
        osMutexRelease(i2c2MutexHandle);
      }
      Baro_Data_t baro_sample;
      if (status == HAL_OK &&
          MS5611_Calculate(&hbaro, &baro_sample) == HAL_OK) {
        if (!baro_startup_zero_valid) {
          /* Average the startup reference so one noisy conversion cannot
             shift every altitude reading for the rest of the flight. */
          baro_startup_altitude_sum += baro_sample.altitude;
          baro_startup_samples++;
          if (baro_startup_samples >= CONFIG_BARO_ZERO_SAMPLES) {
            baro_startup_altitude = baro_startup_altitude_sum /
                                    (float)baro_startup_samples;
            baro_startup_zero_valid = true;
          }
          baro_sample.altitude = 0.0f;
        } else {
          baro_sample.altitude -= baro_startup_altitude;
        }
        flight_state.baro = baro_sample;
        flight_state.last_baro_update = now;
      }
      if (status != HAL_BUSY) {
        baro_state = BARO_START_PRESSURE;
      }
    }

    if (now - last_power_read >= 20U) {
      PowerSensor_Read(&hpower, &flight_state.power);
      last_power_read = now;
    }
    if (now - last_mcu_temperature_read >= 1000U) {
      float temperature_c;
      mcu_temperature_valid =
          (MCU_Temperature_Read(&hadc1, &temperature_c) == HAL_OK);
      if (mcu_temperature_valid) mcu_temperature_c = temperature_c;
      last_mcu_temperature_read = now;
    }
    /* GPS update (if needed) */
    GPS_GetData(&hgps, &flight_state.gps);
    if ((now - flight_state.last_gps_update) > 2000U &&
        (now - last_gps_rearm) > 1000U) {
      HAL_UART_AbortReceive_IT(&huart4);
      __HAL_UART_CLEAR_OREFLAG(&huart4);
      HAL_UART_Receive_IT(&huart4, &hgps.rx_byte, 1);
      last_gps_rearm = now;
    }
    sensors_heartbeat = now;
    osDelay(1);
  }
  /* Infinite loop */
  for(;;)
  {
    osDelay(1);
  }
  /* USER CODE END StartsensorsTask */
}

void HAL_TIM_PeriodElapsedCallback(TIM_HandleTypeDef *htim)
{
  if (htim->Instance == TIM3)
  {
    HAL_IncTick();
  }
}

void Error_Handler(void)
{
  __disable_irq();
  while (1)
  {
  }
}

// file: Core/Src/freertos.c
/* USER CODE BEGIN Header */
/**
  ******************************************************************************
  * File Name          : freertos.c
  * Description        : Code for freertos applications
  ******************************************************************************
  * @attention
  *
  * Copyright (c) 2026 STMicroelectronics.
  * All rights reserved.
  *
  * This software is licensed under terms that can be found in the LICENSE file
  * in the root directory of this software component.
  * If no LICENSE file comes with this software, it is provided AS-IS.
  *
  ******************************************************************************
  */
/* USER CODE END Header */

#include "FreeRTOS.h"
#include "task.h"
#include "main.h"

/* USER CODE BEGIN Application */

/* A stack or allocation failure means scheduler metadata can no longer be
   trusted. Reset immediately and let the independent watchdog remain the
   final fallback if reset cannot complete. */
void vApplicationStackOverflowHook(TaskHandle_t xTask, char *pcTaskName)
{
  (void)xTask;
  (void)pcTaskName;
  taskDISABLE_INTERRUPTS();
  NVIC_SystemReset();
  for (;;) {}
}

void vApplicationMallocFailedHook(void)
{
  taskDISABLE_INTERRUPTS();
  NVIC_SystemReset();
  for (;;) {}
}

/* USER CODE END Application */
